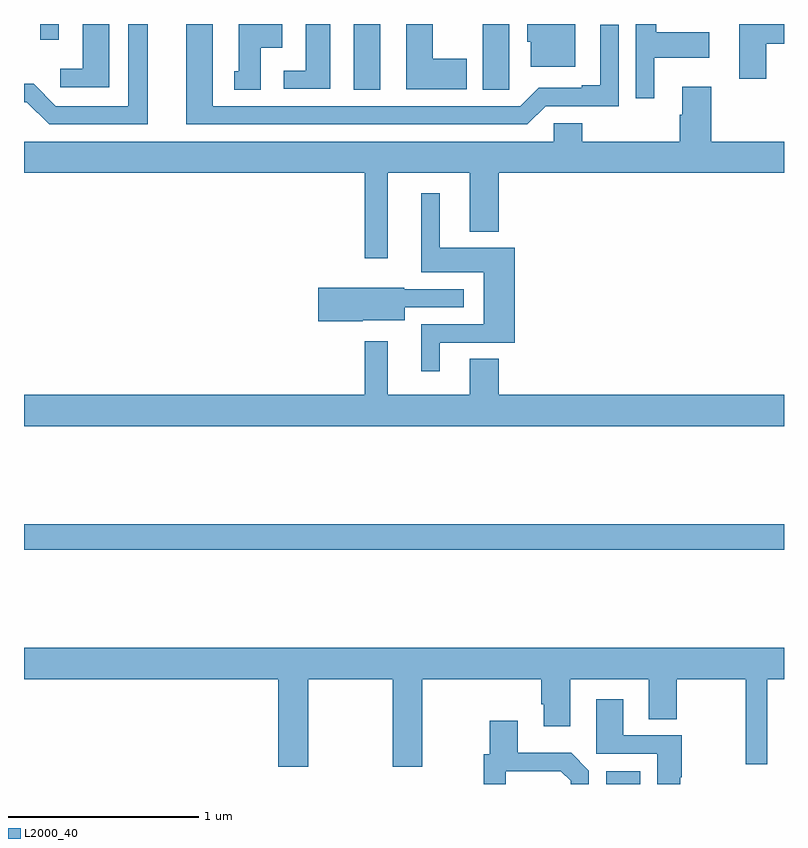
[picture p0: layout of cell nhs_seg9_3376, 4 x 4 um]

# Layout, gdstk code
import gdstk
lib = gdstk.Library(unit=1e-6, precision=1e-09)
def R(c, l, rs):  # rectangles x0, y0, x1, y1
    for r in rs: c.add(gdstk.rectangle(r[:2], r[2:], *l))
def P(c, l, *ps):  # polygons
    for p in ps: c.add(gdstk.Polygon(p, *l))
L2000_40 = (2000, 40)

nhs_seg9_3376 = lib.new_cell('nhs_seg9_3376')
R(nhs_seg9_3376, L2000_40, [(306.065,1230.5,306.244,1230.568), (303,1231.732,307,1231.868), (304.736,1234.153,304.876,1234.5), (303.086,1234.416,303.183,1234.5)])
P(nhs_seg9_3376, L2000_40, [(304.612,1234.5),(304.484,1234.5),(304.484,1234.254),(304.368,1234.254),(304.368,1234.158),(304.612,1234.158)],
  [(305.553,1234.264),(305.554,1234.264),(305.554,1234.5),(305.414,1234.5),(305.414,1234.153),(305.553,1234.153)],
  [(305.745,1234.068),(306.129,1234.068),(306.129,1234.495),(306.032,1234.495),(306.032,1234.177),(305.936,1234.177),(305.936,1234.164),(305.709,1234.164),(305.613,1234.068),(303.994,1234.068),(303.994,1234.5),(303.854,1234.5),(303.854,1233.972),(305.649,1233.972)],
  [(306.316,1234.322),(306.607,1234.322),(306.607,1234.457),(306.328,1234.457),(306.328,1234.5),(306.219,1234.5),(306.219,1234.11),(306.316,1234.11)],
  [(305.902,1234.5),(305.648,1234.5),(305.648,1234.407),(305.666,1234.407),(305.666,1234.274),(305.902,1234.274)],
  [(306.906,1234.396),(307,1234.396),(307,1234.5),(306.764,1234.5),(306.764,1234.212),(306.906,1234.212)],
  [(303.448,1234.5),(303.308,1234.5),(303.308,1234.264),(303.192,1234.264),(303.192,1234.167),(303.448,1234.167)],
  [(305.329,1234.317),(305.152,1234.317),(305.152,1234.5),(305.012,1234.5),(305.012,1234.157),(305.329,1234.157)],
  [(303.652,1234.5),(303.548,1234.5),(303.548,1234.068),(303.168,1234.068),(303.051,1234.185),(303,1234.185),(303,1234.089),(303.015,1234.089),(303.132,1233.972),(303.652,1233.972)],
  [(304.246,1234.376),(304.36,1234.376),(304.36,1234.5),(304.13,1234.5),(304.13,1234.251),(304.106,1234.251),(304.106,1234.153),(304.246,1234.153)],
  [(304.915,1233.716),(305.345,1233.716),(305.345,1233.407),(305.498,1233.407),(305.498,1233.716),(307,1233.716),(307,1233.88),(306.617,1233.88),(306.617,1234.171),(306.464,1234.171),(306.464,1234.022),(306.452,1234.022),(306.452,1233.88),(305.939,1233.88),(305.939,1233.978),(305.787,1233.978),(305.787,1233.88),(303,1233.88),(303,1233.716),(304.794,1233.716),(304.794,1233.267),(304.915,1233.267)],
  [(305.188,1232.823),(305.584,1232.823),(305.584,1233.322),(305.188,1233.322),(305.188,1233.61),(305.09,1233.61),(305.09,1233.194),(305.42,1233.194),(305.42,1232.919),(305.09,1232.919),(305.09,1232.673),(305.188,1232.673)],
  [(304.782,1232.942),(305.005,1232.942),(305.005,1233.009),(305.314,1233.009),(305.314,1233.105),(305.001,1233.105),(305.001,1233.113),(304.548,1233.113),(304.548,1232.935),(304.782,1232.935)],
  [(307,1232.548),(305.498,1232.548),(305.498,1232.738),(305.345,1232.738),(305.345,1232.548),(304.915,1232.548),(304.915,1232.83),(304.794,1232.83),(304.794,1232.548),(303,1232.548),(303,1232.384),(307,1232.384)],
  [(304.497,1231.052),(304.942,1231.052),(304.942,1230.591),(305.097,1230.591),(305.097,1231.052),(305.723,1231.052),(305.723,1230.919),(305.735,1230.919),(305.735,1230.804),(305.875,1230.804),(305.875,1231.052),(306.287,1231.052),(306.287,1230.841),(306.435,1230.841),(306.435,1231.052),(306.799,1231.052),(306.799,1230.603),(306.913,1230.603),(306.913,1231.052),(307,1231.052),(307,1231.216),(303,1231.216),(303,1231.052),(304.337,1231.052),(304.337,1230.591),(304.497,1230.591)],
  [(306.454,1230.535),(306.462,1230.535),(306.462,1230.756),(306.154,1230.756),(306.154,1230.946),(306.011,1230.946),(306.011,1230.66),(306.332,1230.66),(306.332,1230.5),(306.454,1230.5)],
  [(305.535,1230.567),(305.826,1230.567),(305.877,1230.516),(305.877,1230.5),(305.973,1230.5),(305.973,1230.57),(305.879,1230.664),(305.599,1230.664),(305.599,1230.832),(305.452,1230.832),(305.452,1230.657),(305.419,1230.657),(305.419,1230.5),(305.535,1230.5)])

lib.write_gds('nhs_seg9_3376.gds')
